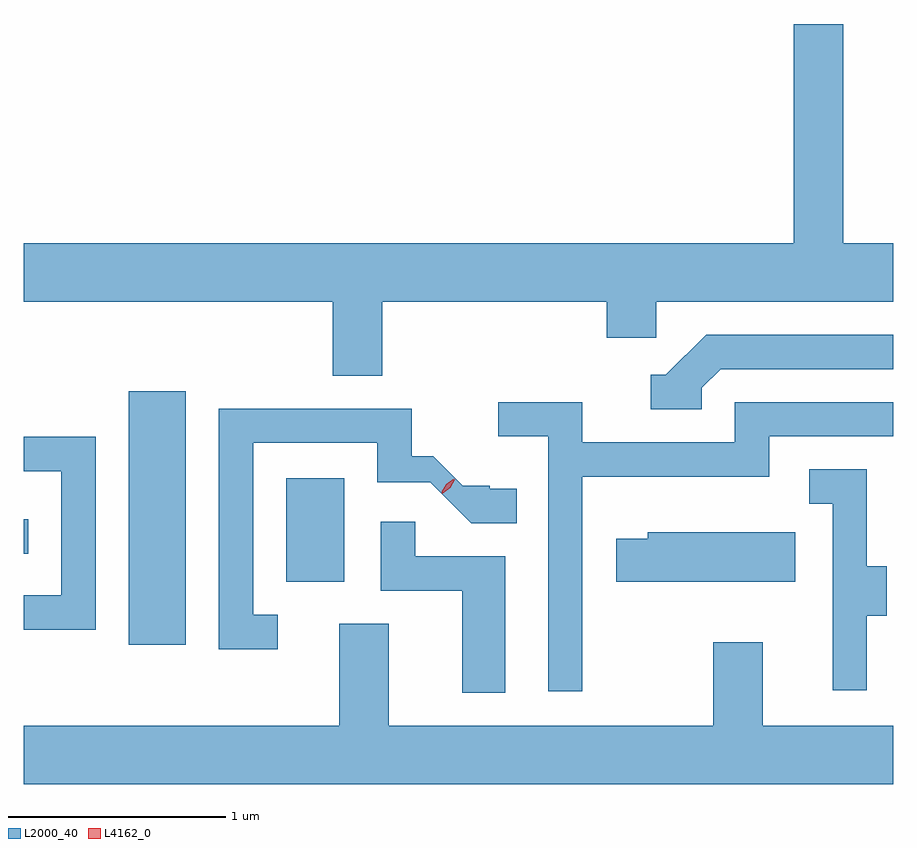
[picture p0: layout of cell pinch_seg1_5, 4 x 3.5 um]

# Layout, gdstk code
import gdstk
lib = gdstk.Library(unit=1e-6, precision=1e-09)
def R(c, l, rs):  # rectangles x0, y0, x1, y1
    for r in rs: c.add(gdstk.rectangle(r[:2], r[2:], *l))
def P(c, l, *ps):  # polygons
    for p in ps: c.add(gdstk.Polygon(p, *l))
L2000_40 = (2000, 40)
L4162_0 = (4162, 0)

pinch_seg1_5 = lib.new_cell('pinch_seg1_5')
R(pinch_seg1_5, L2000_40, [(1866.921,846.936,1867.184,848.104), (1867.646,847.226,1867.914,847.704), (1866.439,847.356,1866.458,847.514)])
P(pinch_seg1_5, L2000_40, [(1868.089,848.516),(1869.121,848.516),(1869.121,848.351),(1869.349,848.351),(1869.349,848.516),(1870.439,848.516),(1870.439,848.784),(1870.209,848.784),(1870.209,849.794),(1869.981,849.794),(1869.981,848.784),(1866.439,848.784),(1866.439,848.516),(1867.861,848.516),(1867.861,848.176),(1868.089,848.176)],
  [(1869.559,848.119),(1869.647,848.206),(1870.439,848.206),(1870.439,848.364),(1869.579,848.364),(1869.394,848.179),(1869.323,848.179),(1869.323,848.021),(1869.559,848.021)],
  [(1869.009,847.711),(1869.869,847.711),(1869.869,847.896),(1870.439,847.896),(1870.439,848.054),(1869.711,848.054),(1869.711,847.869),(1869.009,847.869),(1869.009,848.054),(1868.623,848.054),(1868.623,847.896),(1868.851,847.896),(1868.851,846.723),(1869.009,846.723)],
  [(1867.608,847.074),(1867.494,847.074),(1867.494,847.866),(1868.066,847.866),(1868.066,847.684),(1868.31,847.684),(1868.497,847.496),(1868.708,847.496),(1868.708,847.654),(1868.582,847.654),(1868.582,847.668),(1868.459,847.668),(1868.322,847.804),(1868.224,847.804),(1868.224,848.024),(1867.336,848.024),(1867.336,846.916),(1867.608,846.916)],
  [(1866.769,847.894),(1866.439,847.894),(1866.439,847.736),(1866.611,847.736),(1866.611,847.164),(1866.439,847.164),(1866.439,847.006),(1866.769,847.006)],
  [(1870.319,847.071),(1870.409,847.071),(1870.409,847.299),(1870.319,847.299),(1870.319,847.744),(1870.053,847.744),(1870.053,847.586),(1870.161,847.586),(1870.161,846.728),(1870.319,846.728)],
  [(1868.654,847.344),(1868.239,847.344),(1868.239,847.503),(1868.081,847.503),(1868.081,847.186),(1868.456,847.186),(1868.456,846.716),(1868.654,846.716)],
  [(1869.989,847.454),(1869.311,847.454),(1869.311,847.424),(1869.166,847.424),(1869.166,847.226),(1869.989,847.226)],
  [(1870.439,846.564),(1869.839,846.564),(1869.839,846.949),(1869.611,846.949),(1869.611,846.564),(1868.119,846.564),(1868.119,847.034),(1867.891,847.034),(1867.891,846.564),(1866.439,846.564),(1866.439,846.296),(1870.439,846.296)])
P(pinch_seg1_5, L4162_0, [(1868.363,847.639),(1868.363,847.64),(1868.383,847.676),(1868.417,847.7),(1868.418,847.7),(1868.418,847.7),(1868.398,847.663),(1868.364,847.639)],
  [(1868.363,847.632),(1868.363,847.632),(1868.386,847.673),(1868.424,847.702),(1868.425,847.702),(1868.425,847.701),(1868.401,847.66),(1868.364,847.632)])

lib.write_gds('pinch_seg1_5.gds')
